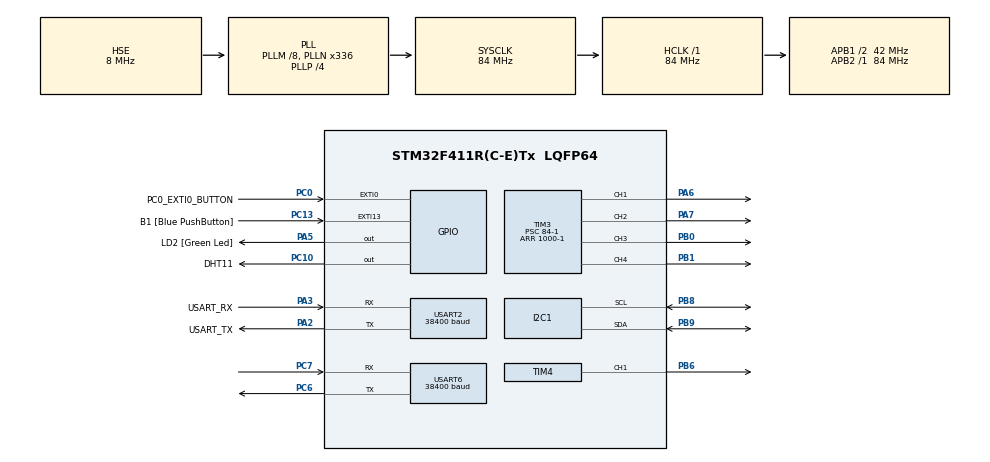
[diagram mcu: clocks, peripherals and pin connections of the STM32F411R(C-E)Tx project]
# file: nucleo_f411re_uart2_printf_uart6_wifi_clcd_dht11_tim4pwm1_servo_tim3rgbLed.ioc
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Mcu.Family=STM32F4
Mcu.Name=STM32F411R(C-E)Tx
Mcu.Package=LQFP64
NVIC.EXTI0_IRQn=true\:0\:0\:false\:false\:true\:true\:true\:true
NVIC.EXTI15_10_IRQn=true\:0\:0\:false\:false\:true\:true\:true\:true
NVIC.PriorityGroup=NVIC_PRIORITYGROUP_0
NVIC.TIM3_IRQn=true\:0\:0\:false\:false\:true\:true\:true\:true
NVIC.USART2_IRQn=true\:0\:0\:false\:false\:true\:true\:true\:true
NVIC.USART6_IRQn=true\:0\:0\:false\:false\:true\:true\:true\:true
PA13.GPIO_Label=TMS
PA13.Mode=Serial_Wire
PA13.Signal=SYS_JTMS-SWDIO
PA14.GPIO_Label=TCK
PA14.Mode=Serial_Wire
PA14.Signal=SYS_JTCK-SWCLK
PA2.GPIO_Label=USART_TX
PA2.Mode=Asynchronous
PA2.Signal=USART2_TX
PA3.GPIO_Label=USART_RX
PA3.Mode=Asynchronous
PA3.Signal=USART2_RX
PA5.GPIO_Label=LD2 [Green Led]
PA5.Signal=GPIO_Output
PA6.Signal=S_TIM3_CH1
PA7.Signal=S_TIM3_CH2
PB0.Signal=S_TIM3_CH3
PB1.Signal=S_TIM3_CH4
PB3.GPIO_Label=SWO
PB3.Signal=SYS_JTDO-SWO
PB6.Signal=S_TIM4_CH1
PB8.Mode=I2C
PB8.Signal=I2C1_SCL
PB9.Mode=I2C
PB9.Signal=I2C1_SDA
PC0.GPIO_Label=PC0_EXTI0_BUTTON
PC0.GPIO_PuPd=GPIO_PULLDOWN
PC0.Signal=GPXTI0
PC10.GPIO_Label=DHT11
PC10.Signal=GPIO_Output
PC13-ANTI_TAMP.GPIO_Label=B1 [Blue PushButton]
PC13-ANTI_TAMP.GPIO_ModeDefaultEXTI=GPIO_MODE_IT_FALLING
PC13-ANTI_TAMP.Signal=GPXTI13
PC14-OSC32_IN.Signal=RCC_OSC32_IN
PC15-OSC32_OUT.Signal=RCC_OSC32_OUT
PC6.Mode=Asynchronous
PC6.Signal=USART6_TX
PC7.Mode=Asynchronous
PC7.Signal=USART6_RX
PH0\ -\ OSC_IN.Mode=HSE-External-Oscillator
PH0\ -\ OSC_IN.Signal=RCC_OSC_IN
PH1\ -\ OSC_OUT.Mode=HSE-External-Oscillator
PH1\ -\ OSC_OUT.Signal=RCC_OSC_OUT
ProjectManager.HeapSize=0x200
ProjectManager.StackSize=0x400
ProjectManager.TargetToolchain=STM32CubeIDE
RCC.48MHZClocksFreq_Value=84000000
RCC.AHBFreq_Value=84000000
RCC.APB1CLKDivider=RCC_HCLK_DIV2
RCC.APB1Freq_Value=42000000
RCC.APB1TimFreq_Value=84000000
RCC.APB2Freq_Value=84000000
RCC.APB2TimFreq_Value=84000000
RCC.CortexFreq_Value=84000000
RCC.FLatency-AdvancedSettings=FLASH_LATENCY_2
RCC.HCLKFreq_Value=84000000
RCC.HSE_VALUE=8000000
RCC.HSI_VALUE=16000000
RCC.LSE_VALUE=32768
RCC.PLLM=8
RCC.PLLN=336
RCC.PLLP=RCC_PLLP_DIV4
RCC.PLLSourceVirtual=RCC_PLLSOURCE_HSE
RCC.SYSCLKFreq_VALUE=84000000
RCC.SYSCLKSource=RCC_SYSCLKSOURCE_PLLCLK
RCC.VCOOutputFreq_Value=336000000
SH.S_TIM3_CH1.0=TIM3_CH1,PWM Generation1 CH1
SH.S_TIM3_CH2.0=TIM3_CH2,PWM Generation2 CH2
SH.S_TIM3_CH3.0=TIM3_CH3,PWM Generation3 CH3
SH.S_TIM3_CH4.0=TIM3_CH4,PWM Generation4 CH4
SH.S_TIM4_CH1.0=TIM4_CH1,PWM Generation1 CH1
TIM3.AutoReloadPreload=TIM_AUTORELOAD_PRELOAD_ENABLE
TIM3.Channel-PWM\ Generation1\ CH1=TIM_CHANNEL_1
TIM3.Channel-PWM\ Generation2\ CH2=TIM_CHANNEL_2
TIM3.Channel-PWM\ Generation3\ CH3=TIM_CHANNEL_3
TIM3.Channel-PWM\ Generation4\ CH4=TIM_CHANNEL_4
TIM3.Period=1000-1
TIM3.Prescaler=84-1
TIM4.Channel-PWM\ Generation1\ CH1=TIM_CHANNEL_1
TIM4.Period=20000-1
TIM4.Prescaler=84-1
TIM4.Pulse-PWM\ Generation1\ CH1=500
USART2.BaudRate=38400
USART2.VirtualMode=VM_ASYNC
USART6.BaudRate=38400
USART6.VirtualMode=VM_ASYNC
VP_TIM3_VS_ClockSourceINT.Mode=Internal
VP_TIM4_VS_ClockSourceINT.Mode=Internal
board=NUCLEO-F411RE

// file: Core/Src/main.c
/* USER CODE BEGIN Header */
/**
  ******************************************************************************
  * @file           : main.c
  * @brief          : Main program body
  ******************************************************************************
  * @attention
  *
  * Copyright (c) 2024 STMicroelectronics.
  * All rights reserved.
  *
  * This software is licensed under terms that can be found in the LICENSE file
  * in the root directory of this software component.
  * If no LICENSE file comes with this software, it is provided AS-IS.
  *
  ******************************************************************************
  */
/* USER CODE END Header */
#include "main.h"

/* USER CODE BEGIN Includes */
#include <stdio.h>
#include <string.h>
#include <stdlib.h>
#include "esp.h"
#include "dht.h"
#include "clcd.h"
/* USER CODE END Includes */

/* USER CODE BEGIN PD */
#ifdef __GNUC__
/* With GCC, small printf (option LD Linker->Libraries->Small printf
   set to 'Yes') calls __io_putchar() */
#define PUTCHAR_PROTOTYPE int __io_putchar(int ch)
#else
#define PUTCHAR_PROTOTYPE int fputc(int ch, FILE *f)
#endif /* __GNUC__ */
#define ARR_CNT 5
#define CMD_SIZE 50

/* USER CODE END PD */

I2C_HandleTypeDef hi2c1;

TIM_HandleTypeDef htim3;
TIM_HandleTypeDef htim4;

UART_HandleTypeDef huart2;
UART_HandleTypeDef huart6;

/* USER CODE BEGIN PV */
uint8_t rx2char;
extern volatile unsigned char rx2Flag;
extern volatile char rx2Data[50];
volatile int tim3Flag1Sec = 0;
volatile unsigned int tim3Sec = 0;
volatile int keyNo = 0;
int servoPulse = 500;
int rgbFlag = 0;
/* USER CODE END PV */

void SystemClock_Config(void);
static void MX_GPIO_Init(void);
static void MX_USART2_UART_Init(void);
static void MX_USART6_UART_Init(void);
static void MX_TIM3_Init(void);
static void MX_I2C1_Init(void);
static void MX_TIM4_Init(void);
/* USER CODE BEGIN PFP */
char strBuff[MAX_ESP_MESSAGE_LEN];
void MX_GPIO_LED_ON(int flag);
void MX_GPIO_LED_OFF(int flag);
void esp_event(char *recvBuf);
long map(long x, long in_min, long in_max, long out_min, long out_max);
void set_rgb_led(int red, int green, int blue);
void print_reset_cause(void);
static int parse_int_range(const char *text, int min_value, int max_value, int *out);
/* USER CODE END PFP */

int main(void)
{

  /* USER CODE BEGIN 1 */
	int ret;
	DHT11_TypeDef dht11Data;
	char buff[30];
	int red = 500;
	int green = 500;
	int blue = 500;
  /* USER CODE END 1 */

  /* MCU Configuration--------------------------------------------------------*/

  /* Reset of all peripherals, Initializes the Flash interface and the Systick. */
  HAL_Init();

  /* Configure the system clock */
  SystemClock_Config();

  /* Initialize all configured peripherals */
  MX_GPIO_Init();
  MX_USART2_UART_Init();
  MX_USART6_UART_Init();
  MX_TIM3_Init();
  MX_I2C1_Init();
  MX_TIM4_Init();
  /* USER CODE BEGIN 2 */
  printf("Start main() - wifi\r\n");
  print_reset_cause();

  /* 로컬 기능은 Wi-Fi 상태와 무관하게 먼저 정상 동작시키는 구조 */
  if(drv_uart_init() != 0)
      printf("UART2 receive init fail\r\n");

  DHT11_Init();
  LCD_init(&hi2c1);
  LCD_writeStringXY(0, 0, "hello lcd       ");

  if(HAL_TIM_Base_Start_IT(&htim3) != HAL_OK)
  {
      Error_Handler();
  }
  if(HAL_TIM_PWM_Start(&htim4, TIM_CHANNEL_1) != HAL_OK)
  {
      Error_Handler();
  }
  __HAL_TIM_SetCompare(&htim4,TIM_CHANNEL_1,(servoPulse-1)<0?0:servoPulse-1);

  __HAL_TIM_SetCompare(&htim3,TIM_CHANNEL_2,(red-1)<0?0:red-1);
  __HAL_TIM_SetCompare(&htim3,TIM_CHANNEL_3,(green-1)<0?0:green-1);
  __HAL_TIM_SetCompare(&htim3,TIM_CHANNEL_4,(blue-1)<0?0:blue-1);
  if(HAL_TIM_PWM_Start(&htim3, TIM_CHANNEL_2) != HAL_OK)
  {
      Error_Handler();
  }
  if(HAL_TIM_PWM_Start(&htim3, TIM_CHANNEL_3) != HAL_OK)
  {
      Error_Handler();
  }
  if(HAL_TIM_PWM_Start(&htim3, TIM_CHANNEL_4) != HAL_OK)
  {
      Error_Handler();
  }

  /* ESP 실패 때문에 Error_Handler()로 들어가 로컬 기능까지 멈추지 않는다. */

  ret = drv_esp_init();
  if(ret == 0)
  {
      ret = AiotClient_Init();
      if(ret == 0)
      {
          printf("ESP/Server ready\r\n");
      }
      else
      {
          printf("ESP network init fail - local mode continues\r\n");
      }
  }
  else
  {
      printf("ESP no response - local mode continues\r\n");
  }

  /* USER CODE END 2 */

  /* Infinite loop */
  /* USER CODE BEGIN WHILE */
  while (1)
  {
			/* +IPD payload가 완성되면 가져와서 명령 처리 */
			if(esp_get_message(strBuff, sizeof(strBuff)) > 0)
			{
				esp_event(strBuff);
			}

			if(rx2Flag)
			{
				printf("recv2 : %s\r\n",rx2Data);
				rx2Flag = 0;
			}

			/* 버튼/서보 처리는 네트워크 상태와 완전히 독립 */
			if(keyNo != 0)
			{
			  int currentKey = keyNo;
			  keyNo = 0;

			  if((currentKey == 1) && (servoPulse > 500))
			  {
				  servoPulse -= 200;
			  }
			  else if((currentKey == 2) && (servoPulse < 2500))
			  {
				  servoPulse += 200;
			  }

			  __HAL_TIM_SetCompare(&htim4,TIM_CHANNEL_1,(servoPulse-1)<0?0:servoPulse-1);
			  printf("keyNo : %u, servoPulse : %d\r\n",currentKey,servoPulse);
			}

			if(tim3Flag1Sec)
			{
				tim3Flag1Sec = 0;

				/* 주기적 CIPSTATUS/CIPSTART는 제거: 로컬 기능 blocking 방지 */
				if(!(tim3Sec%5))
				{
					dht11Data = DHT11_readData();
					if(dht11Data.status == 1)
					{
						snprintf(buff, sizeof(buff), "h:%d%% t:%d.%dC",
						         dht11Data.rh_byte1,
						         dht11Data.temp_byte1,
						         dht11Data.temp_byte2);
						printf("%s\r\n", buff);
						LCD_writeStringXY(1, 0, "                ");
						LCD_writeStringXY(1, 0, buff);
					}
					else
					{
						printf("DHT11 read/checksum error\r\n");
					}
				}

				if(rgbFlag == 0)
				{
					if(!(tim3Sec%3))
					{
						red = 1000; green = 0; blue = 0;
					}
					else if((tim3Sec%3)==1)
					{
						red = 0; green = 1000; blue = 0;
					}
					else
					{
						red = 0; green = 0; blue = 1000;
					}
					set_rgb_led(red, green, blue);
				}
			}
    /* USER CODE END WHILE */

  }
}

void SystemClock_Config(void)
{
  RCC_OscInitTypeDef RCC_OscInitStruct = {0};
  RCC_ClkInitTypeDef RCC_ClkInitStruct = {0};

  /** Configure the main internal regulator output voltage
  */
  __HAL_RCC_PWR_CLK_ENABLE();
  __HAL_PWR_VOLTAGESCALING_CONFIG(PWR_REGULATOR_VOLTAGE_SCALE1);

  /** Initializes the RCC Oscillators according to the specified parameters
  * in the RCC_OscInitTypeDef structure.
  */
  RCC_OscInitStruct.OscillatorType = RCC_OSCILLATORTYPE_HSE;
  RCC_OscInitStruct.HSEState = RCC_HSE_ON;
  RCC_OscInitStruct.PLL.PLLState = RCC_PLL_ON;
  RCC_OscInitStruct.PLL.PLLSource = RCC_PLLSOURCE_HSE;
  RCC_OscInitStruct.PLL.PLLM = 8;
  RCC_OscInitStruct.PLL.PLLN = 336;
  RCC_OscInitStruct.PLL.PLLP = RCC_PLLP_DIV4;
  RCC_OscInitStruct.PLL.PLLQ = 4;
  if (HAL_RCC_OscConfig(&RCC_OscInitStruct) != HAL_OK)
  {
    Error_Handler();
  }

  /** Initializes the CPU, AHB and APB buses clocks
  */
  RCC_ClkInitStruct.ClockType = RCC_CLOCKTYPE_HCLK|RCC_CLOCKTYPE_SYSCLK
                              |RCC_CLOCKTYPE_PCLK1|RCC_CLOCKTYPE_PCLK2;
  RCC_ClkInitStruct.SYSCLKSource = RCC_SYSCLKSOURCE_PLLCLK;
  RCC_ClkInitStruct.AHBCLKDivider = RCC_SYSCLK_DIV1;
  RCC_ClkInitStruct.APB1CLKDivider = RCC_HCLK_DIV2;
  RCC_ClkInitStruct.APB2CLKDivider = RCC_HCLK_DIV1;

  if (HAL_RCC_ClockConfig(&RCC_ClkInitStruct, FLASH_LATENCY_2) != HAL_OK)
  {
    Error_Handler();
  }
}

static void MX_I2C1_Init(void)
{

  hi2c1.Instance = I2C1;
  hi2c1.Init.ClockSpeed = 100000;
  hi2c1.Init.DutyCycle = I2C_DUTYCYCLE_2;
  hi2c1.Init.OwnAddress1 = 0;
  hi2c1.Init.AddressingMode = I2C_ADDRESSINGMODE_7BIT;
  hi2c1.Init.DualAddressMode = I2C_DUALADDRESS_DISABLE;
  hi2c1.Init.OwnAddress2 = 0;
  hi2c1.Init.GeneralCallMode = I2C_GENERALCALL_DISABLE;
  hi2c1.Init.NoStretchMode = I2C_NOSTRETCH_DISABLE;
  if (HAL_I2C_Init(&hi2c1) != HAL_OK)
  {
    Error_Handler();
  }

}

static void MX_TIM3_Init(void)
{

  TIM_ClockConfigTypeDef sClockSourceConfig = {0};
  TIM_MasterConfigTypeDef sMasterConfig = {0};
  TIM_OC_InitTypeDef sConfigOC = {0};

  htim3.Instance = TIM3;
  htim3.Init.Prescaler = 84-1;
  htim3.Init.CounterMode = TIM_COUNTERMODE_UP;
  htim3.Init.Period = 1000-1;
  htim3.Init.ClockDivision = TIM_CLOCKDIVISION_DIV1;
  htim3.Init.AutoReloadPreload = TIM_AUTORELOAD_PRELOAD_ENABLE;
  if (HAL_TIM_Base_Init(&htim3) != HAL_OK)
  {
    Error_Handler();
  }
  sClockSourceConfig.ClockSource = TIM_CLOCKSOURCE_INTERNAL;
  if (HAL_TIM_ConfigClockSource(&htim3, &sClockSourceConfig) != HAL_OK)
  {
    Error_Handler();
  }
  if (HAL_TIM_PWM_Init(&htim3) != HAL_OK)
  {
    Error_Handler();
  }
  sMasterConfig.MasterOutputTrigger = TIM_TRGO_RESET;
  sMasterConfig.MasterSlaveMode = TIM_MASTERSLAVEMODE_DISABLE;
  if (HAL_TIMEx_MasterConfigSynchronization(&htim3, &sMasterConfig) != HAL_OK)
  {
    Error_Handler();
  }
  sConfigOC.OCMode = TIM_OCMODE_PWM1;
  sConfigOC.Pulse = 0;
  sConfigOC.OCPolarity = TIM_OCPOLARITY_HIGH;
  sConfigOC.OCFastMode = TIM_OCFAST_DISABLE;
  if (HAL_TIM_PWM_ConfigChannel(&htim3, &sConfigOC, TIM_CHANNEL_1) != HAL_OK)
  {
    Error_Handler();
  }
  if (HAL_TIM_PWM_ConfigChannel(&htim3, &sConfigOC, TIM_CHANNEL_2) != HAL_OK)
  {
    Error_Handler();
  }
  if (HAL_TIM_PWM_ConfigChannel(&htim3, &sConfigOC, TIM_CHANNEL_3) != HAL_OK)
  {
    Error_Handler();
  }
  if (HAL_TIM_PWM_ConfigChannel(&htim3, &sConfigOC, TIM_CHANNEL_4) != HAL_OK)
  {
    Error_Handler();
  }
  HAL_TIM_MspPostInit(&htim3);

}

static void MX_TIM4_Init(void)
{

  TIM_ClockConfigTypeDef sClockSourceConfig = {0};
  TIM_MasterConfigTypeDef sMasterConfig = {0};
  TIM_OC_InitTypeDef sConfigOC = {0};

  htim4.Instance = TIM4;
  htim4.Init.Prescaler = 84-1;
  htim4.Init.CounterMode = TIM_COUNTERMODE_UP;
  htim4.Init.Period = 20000-1;
  htim4.Init.ClockDivision = TIM_CLOCKDIVISION_DIV1;
  htim4.Init.AutoReloadPreload = TIM_AUTORELOAD_PRELOAD_DISABLE;
  if (HAL_TIM_Base_Init(&htim4) != HAL_OK)
  {
    Error_Handler();
  }
  sClockSourceConfig.ClockSource = TIM_CLOCKSOURCE_INTERNAL;
  if (HAL_TIM_ConfigClockSource(&htim4, &sClockSourceConfig) != HAL_OK)
  {
    Error_Handler();
  }
  if (HAL_TIM_PWM_Init(&htim4) != HAL_OK)
  {
    Error_Handler();
  }
  sMasterConfig.MasterOutputTrigger = TIM_TRGO_RESET;
  sMasterConfig.MasterSlaveMode = TIM_MASTERSLAVEMODE_DISABLE;
  if (HAL_TIMEx_MasterConfigSynchronization(&htim4, &sMasterConfig) != HAL_OK)
  {
    Error_Handler();
  }
  sConfigOC.OCMode = TIM_OCMODE_PWM1;
  sConfigOC.Pulse = 500;
  sConfigOC.OCPolarity = TIM_OCPOLARITY_HIGH;
  sConfigOC.OCFastMode = TIM_OCFAST_DISABLE;
  if (HAL_TIM_PWM_ConfigChannel(&htim4, &sConfigOC, TIM_CHANNEL_1) != HAL_OK)
  {
    Error_Handler();
  }
  HAL_TIM_MspPostInit(&htim4);

}

static void MX_USART2_UART_Init(void)
{

  huart2.Instance = USART2;
  huart2.Init.BaudRate = 38400;
  huart2.Init.WordLength = UART_WORDLENGTH_8B;
  huart2.Init.StopBits = UART_STOPBITS_1;
  huart2.Init.Parity = UART_PARITY_NONE;
  huart2.Init.Mode = UART_MODE_TX_RX;
  huart2.Init.HwFlowCtl = UART_HWCONTROL_NONE;
  huart2.Init.OverSampling = UART_OVERSAMPLING_16;
  if (HAL_UART_Init(&huart2) != HAL_OK)
  {
    Error_Handler();
  }

}

static void MX_USART6_UART_Init(void)
{

  huart6.Instance = USART6;
  huart6.Init.BaudRate = 38400;
  huart6.Init.WordLength = UART_WORDLENGTH_8B;
  huart6.Init.StopBits = UART_STOPBITS_1;
  huart6.Init.Parity = UART_PARITY_NONE;
  huart6.Init.Mode = UART_MODE_TX_RX;
  huart6.Init.HwFlowCtl = UART_HWCONTROL_NONE;
  huart6.Init.OverSampling = UART_OVERSAMPLING_16;
  if (HAL_UART_Init(&huart6) != HAL_OK)
  {
    Error_Handler();
  }

}

static void MX_GPIO_Init(void)
{
  GPIO_InitTypeDef GPIO_InitStruct = {0};

  /* GPIO Ports Clock Enable */
  __HAL_RCC_GPIOC_CLK_ENABLE();
  __HAL_RCC_GPIOH_CLK_ENABLE();
  __HAL_RCC_GPIOA_CLK_ENABLE();
  __HAL_RCC_GPIOB_CLK_ENABLE();

  /*Configure GPIO pin Output Level */
  HAL_GPIO_WritePin(LD2_GPIO_Port, LD2_Pin, GPIO_PIN_RESET);

  /*Configure GPIO pin Output Level */
  HAL_GPIO_WritePin(DHT11_GPIO_Port, DHT11_Pin, GPIO_PIN_RESET);

  /*Configure GPIO pin : B1_Pin */
  GPIO_InitStruct.Pin = B1_Pin;
  GPIO_InitStruct.Mode = GPIO_MODE_IT_FALLING;
  GPIO_InitStruct.Pull = GPIO_NOPULL;
  HAL_GPIO_Init(B1_GPIO_Port, &GPIO_InitStruct);

  /*Configure GPIO pin : PC0_EXTI0_BUTTON_Pin */
  GPIO_InitStruct.Pin = PC0_EXTI0_BUTTON_Pin;
  GPIO_InitStruct.Mode = GPIO_MODE_IT_RISING;
  GPIO_InitStruct.Pull = GPIO_PULLDOWN;
  HAL_GPIO_Init(PC0_EXTI0_BUTTON_GPIO_Port, &GPIO_InitStruct);

  /*Configure GPIO pin : LD2_Pin */
  GPIO_InitStruct.Pin = LD2_Pin;
  GPIO_InitStruct.Mode = GPIO_MODE_OUTPUT_PP;
  GPIO_InitStruct.Pull = GPIO_NOPULL;
  GPIO_InitStruct.Speed = GPIO_SPEED_FREQ_LOW;
  HAL_GPIO_Init(LD2_GPIO_Port, &GPIO_InitStruct);

  /*Configure GPIO pin : DHT11_Pin */
  GPIO_InitStruct.Pin = DHT11_Pin;
  GPIO_InitStruct.Mode = GPIO_MODE_OUTPUT_PP;
  GPIO_InitStruct.Pull = GPIO_NOPULL;
  GPIO_InitStruct.Speed = GPIO_SPEED_FREQ_LOW;
  HAL_GPIO_Init(DHT11_GPIO_Port, &GPIO_InitStruct);

  /* EXTI interrupt init*/
  HAL_NVIC_SetPriority(EXTI0_IRQn, 0, 0);
  HAL_NVIC_EnableIRQ(EXTI0_IRQn);

  HAL_NVIC_SetPriority(EXTI15_10_IRQn, 0, 0);
  HAL_NVIC_EnableIRQ(EXTI15_10_IRQn);

}

/* USER CODE BEGIN 4 */
void MX_GPIO_LED_ON(int pin)
{
    HAL_GPIO_WritePin(LD2_GPIO_Port, pin, GPIO_PIN_SET);
}

void MX_GPIO_LED_OFF(int pin)
{
    HAL_GPIO_WritePin(LD2_GPIO_Port, pin, GPIO_PIN_RESET);
}

static int parse_int_range(const char *text, int min_value, int max_value, int *out)
{
    char *endptr;
    long value;

    if(text == NULL || out == NULL || *text == '\0')
        return 0;

    value = strtol(text, &endptr, 10);
    if(*endptr != '\0')
        return 0;

    if(value < min_value || value > max_value)
        return 0;

    *out = (int)value;
    return 1;
}

void esp_event(char *recvBuf)
{
    int i = 0;
    char *pToken;
    char *pArray[ARR_CNT] = {0};
    char sendBuf[MAX_ESP_COMMAND_LEN] = {0};
    size_t recvLen;

    if(recvBuf == NULL)
        return;

    recvLen = strlen(recvBuf);
    while(recvLen > 0 &&
          (recvBuf[recvLen - 1] == '\n' || recvBuf[recvLen - 1] == '\r'))
    {
        recvBuf[--recvLen] = '\0';
    }

    printf("\r\nDebug recv : %s\r\n", recvBuf);

    pToken = strtok(recvBuf, "[@]");
    while(pToken != NULL && i < ARR_CNT)
    {
        pArray[i++] = pToken;
        pToken = strtok(NULL, "[@]");
    }

    if(i < 2 || pArray[0] == NULL || pArray[1] == NULL)
        return;

    if(!strcmp(pArray[1], "PLUG"))
    {
        if(i < 3 || pArray[2] == NULL)
            return;

        if(!strcmp(pArray[2], "ON"))
            MX_GPIO_LED_ON(LD2_Pin);
        else if(!strcmp(pArray[2], "OFF"))
            MX_GPIO_LED_OFF(LD2_Pin);
        else
            return;

        snprintf(sendBuf, sizeof(sendBuf),
                 "[%s]%s@%s\n", pArray[0], pArray[1], pArray[2]);
    }
    else if(!strcmp(pArray[1], "SERVO"))
    {
        int degree;
        int value;

        if(i < 3 || !parse_int_range(pArray[2], 0, 180, &degree))
        {
            printf("SERVO value error\r\n");
            return;
        }

        value = (int)map(degree, 0, 180, 500, 2500);
        servoPulse = value;
        __HAL_TIM_SetCompare(&htim4, TIM_CHANNEL_1,
                             (servoPulse - 1) < 0 ? 0 : servoPulse - 1);

        snprintf(sendBuf, sizeof(sendBuf),
                 "[%s]%s@%d\n", pArray[0], pArray[1], degree);
    }
    else if(!strcmp(pArray[1], "RGB"))
    {
        if(i < 3 || pArray[2] == NULL)
            return;

        if(!strcmp(pArray[2], "OFF"))
        {
            rgbFlag = 1;
            set_rgb_led(0, 0, 0);
            snprintf(sendBuf, sizeof(sendBuf),
                     "[%s]%s@OFF\n", pArray[0], pArray[1]);
        }
        else
        {
            int r, g, b;

            if(i < 5 ||
               !parse_int_range(pArray[2], 0, 100, &r) ||
               !parse_int_range(pArray[3], 0, 100, &g) ||
               !parse_int_range(pArray[4], 0, 100, &b))
            {
                printf("RGB value error\r\n");
                return;
            }

            rgbFlag = 1;
            set_rgb_led(r * 10, g * 10, b * 10);
            snprintf(sendBuf, sizeof(sendBuf),
                     "[%s]%s@%d@%d@%d\n",
                     pArray[0], pArray[1], r, g, b);
        }
    }
    else if(!strncmp(pArray[1], " New conn", 8))
    {
        return;
    }
    else if(!strncmp(pArray[1], " Already log", 8))
    {
        return;
    }
    else
    {
        return;
    }

    if(esp_send_data(sendBuf) == 0)
        printf("Debug send : %s\r\n", sendBuf);
    else
        printf("Debug send fail (server offline)\r\n");
}

void HAL_TIM_PeriodElapsedCallback(TIM_HandleTypeDef *htim)
{
    static int tim3Cnt = 0;

    if(htim->Instance != TIM3)
        return;

    tim3Cnt++;
    if(tim3Cnt >= 1000)
    {
        tim3Flag1Sec = 1;
        tim3Sec++;
        tim3Cnt = 0;
    }
}

void HAL_GPIO_EXTI_Callback(uint16_t GPIO_Pin)
{
    static uint32_t lastPc0Tick = 0;
    static uint32_t lastB1Tick = 0;
    uint32_t now = HAL_GetTick();

    switch(GPIO_Pin)
    {
        case GPIO_PIN_0:
            if(lastPc0Tick == 0 || (now - lastPc0Tick) >= 80U)
            {
                keyNo = 1;
                lastPc0Tick = now;
            }
            break;

        case GPIO_PIN_13:
            if(lastB1Tick == 0 || (now - lastB1Tick) >= 80U)
            {
                keyNo = 2;
                lastB1Tick = now;
            }
            break;

        default:
            break;
    }
}

long map(long x, long in_min, long in_max, long out_min, long out_max)
{
    return (x - in_min) * (out_max - out_min) /
           (in_max - in_min) + out_min;
}

void set_rgb_led(int red, int green, int blue)
{
    if(red < 0) red = 0;
    if(red > 1000) red = 1000;
    if(green < 0) green = 0;
    if(green > 1000) green = 1000;
    if(blue < 0) blue = 0;
    if(blue > 1000) blue = 1000;

    __HAL_TIM_SetCompare(&htim3, TIM_CHANNEL_2, red > 0 ? red - 1 : 0);
    __HAL_TIM_SetCompare(&htim3, TIM_CHANNEL_3, green > 0 ? green - 1 : 0);
    __HAL_TIM_SetCompare(&htim3, TIM_CHANNEL_4, blue > 0 ? blue - 1 : 0);
}

void print_reset_cause(void)
{
    printf("Reset cause :");

    if(__HAL_RCC_GET_FLAG(RCC_FLAG_BORRST))  printf(" BOR");
    if(__HAL_RCC_GET_FLAG(RCC_FLAG_PORRST))  printf(" POR/PDR");
    if(__HAL_RCC_GET_FLAG(RCC_FLAG_PINRST))  printf(" PIN");
    if(__HAL_RCC_GET_FLAG(RCC_FLAG_SFTRST))  printf(" SOFTWARE");
    if(__HAL_RCC_GET_FLAG(RCC_FLAG_IWDGRST)) printf(" IWDG");
    if(__HAL_RCC_GET_FLAG(RCC_FLAG_WWDGRST)) printf(" WWDG");
    if(__HAL_RCC_GET_FLAG(RCC_FLAG_LPWRRST)) printf(" LOWPOWER");

    printf("\r\n");
    __HAL_RCC_CLEAR_RESET_FLAGS();
}
/* USER CODE END 4 */

void Error_Handler(void)
{
  __disable_irq();
  while (1)
  {
  }
}
